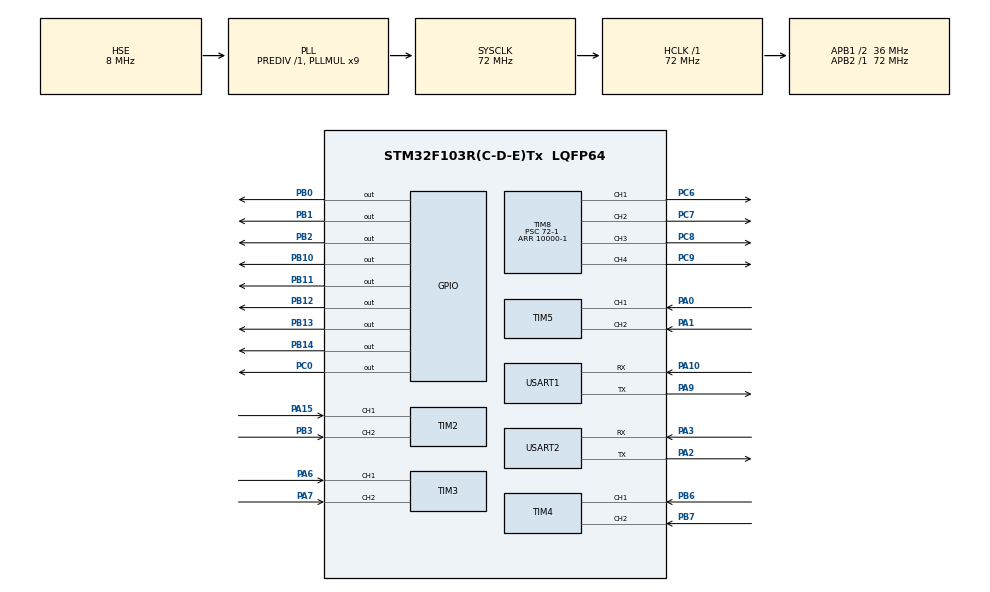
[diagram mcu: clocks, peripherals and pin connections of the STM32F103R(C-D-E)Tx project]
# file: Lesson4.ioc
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Dma.Request0=USART2_RX
Dma.Request1=USART1_RX
Dma.USART1_RX.1.Direction=DMA_PERIPH_TO_MEMORY
Dma.USART1_RX.1.Instance=DMA1_Channel5
Dma.USART1_RX.1.MemDataAlignment=DMA_MDATAALIGN_BYTE
Dma.USART1_RX.1.MemInc=DMA_MINC_ENABLE
Dma.USART1_RX.1.Mode=DMA_NORMAL
Dma.USART1_RX.1.PeriphDataAlignment=DMA_PDATAALIGN_BYTE
Dma.USART1_RX.1.PeriphInc=DMA_PINC_DISABLE
Dma.USART1_RX.1.Priority=DMA_PRIORITY_VERY_HIGH
Dma.USART2_RX.0.Direction=DMA_PERIPH_TO_MEMORY
Dma.USART2_RX.0.Instance=DMA1_Channel6
Dma.USART2_RX.0.MemDataAlignment=DMA_MDATAALIGN_BYTE
Dma.USART2_RX.0.MemInc=DMA_MINC_ENABLE
Dma.USART2_RX.0.Mode=DMA_NORMAL
Dma.USART2_RX.0.PeriphDataAlignment=DMA_PDATAALIGN_BYTE
Dma.USART2_RX.0.PeriphInc=DMA_PINC_DISABLE
Dma.USART2_RX.0.Priority=DMA_PRIORITY_VERY_HIGH
Mcu.Family=STM32F1
Mcu.Name=STM32F103R(C-D-E)Tx
Mcu.Package=LQFP64
NVIC.DMA1_Channel5_IRQn=true\:0\:0\:false\:false\:true\:false\:true
NVIC.DMA1_Channel6_IRQn=true\:0\:0\:false\:false\:true\:false\:true
NVIC.PriorityGroup=NVIC_PRIORITYGROUP_4
NVIC.TIM1_UP_IRQn=true\:0\:0\:false\:false\:true\:true\:true
NVIC.USART1_IRQn=true\:0\:0\:false\:false\:true\:true\:true
NVIC.USART2_IRQn=true\:0\:0\:false\:false\:true\:true\:true
PA0-WKUP.Signal=S_TIM5_CH1
PA1.Signal=S_TIM5_CH2
PA10.Mode=Asynchronous
PA10.Signal=USART1_RX
PA13.Mode=Serial_Wire
PA13.Signal=SYS_JTMS-SWDIO
PA14.Mode=Serial_Wire
PA14.Signal=SYS_JTCK-SWCLK
PA15.Signal=S_TIM2_CH1_ETR
PA2.Mode=Asynchronous
PA2.Signal=USART2_TX
PA3.Mode=Asynchronous
PA3.Signal=USART2_RX
PA6.Signal=S_TIM3_CH1
PA7.Signal=S_TIM3_CH2
PA9.Mode=Asynchronous
PA9.Signal=USART1_TX
PB0.Signal=GPIO_Output
PB1.Signal=GPIO_Output
PB10.Signal=GPIO_Output
PB11.Signal=GPIO_Output
PB12.Signal=GPIO_Output
PB13.Signal=GPIO_Output
PB14.Signal=GPIO_Output
PB2.Signal=GPIO_Output
PB3.Signal=S_TIM2_CH2
PB6.Signal=S_TIM4_CH1
PB7.Signal=S_TIM4_CH2
PC0.Signal=GPIO_Output
PC6.Signal=S_TIM8_CH1
PC7.Signal=S_TIM8_CH2
PC8.Signal=S_TIM8_CH3
PC9.Signal=S_TIM8_CH4
PD0-OSC_IN.Mode=HSE-External-Oscillator
PD0-OSC_IN.Signal=RCC_OSC_IN
PD1-OSC_OUT.Mode=HSE-External-Oscillator
PD1-OSC_OUT.Signal=RCC_OSC_OUT
ProjectManager.HeapSize=0x200
ProjectManager.StackSize=0x400
ProjectManager.TargetToolchain=Makefile
RCC.AHBFreq_Value=72000000
RCC.APB1CLKDivider=RCC_HCLK_DIV2
RCC.APB1Freq_Value=36000000
RCC.APB1TimFreq_Value=72000000
RCC.APB2Freq_Value=72000000
RCC.APB2TimFreq_Value=72000000
RCC.HCLKFreq_Value=72000000
RCC.PLLMUL=RCC_PLL_MUL9
RCC.PLLSourceVirtual=RCC_PLLSOURCE_HSE
RCC.SYSCLKFreq_VALUE=72000000
RCC.SYSCLKSource=RCC_SYSCLKSOURCE_PLLCLK
RCC.USBFreq_Value=72000000
SH.S_TIM2_CH1_ETR.0=TIM2_CH1,Encoder_Interface
SH.S_TIM2_CH2.0=TIM2_CH2,Encoder_Interface
SH.S_TIM3_CH1.0=TIM3_CH1,Encoder_Interface
SH.S_TIM3_CH2.0=TIM3_CH2,Encoder_Interface
SH.S_TIM4_CH1.0=TIM4_CH1,Encoder_Interface
SH.S_TIM4_CH2.0=TIM4_CH2,Encoder_Interface
SH.S_TIM5_CH1.0=TIM5_CH1,Encoder_Interface
SH.S_TIM5_CH2.0=TIM5_CH2,Encoder_Interface
SH.S_TIM8_CH1.0=TIM8_CH1,PWM Generation1 CH1
SH.S_TIM8_CH2.0=TIM8_CH2,PWM Generation2 CH2
SH.S_TIM8_CH3.0=TIM8_CH3,PWM Generation3 CH3
SH.S_TIM8_CH4.0=TIM8_CH4,PWM Generation4 CH4
TIM1.Period=50000-1
TIM1.Prescaler=72-1
TIM2.EncoderMode=TIM_ENCODERMODE_TI12
TIM3.EncoderMode=TIM_ENCODERMODE_TI12
TIM4.EncoderMode=TIM_ENCODERMODE_TI12
TIM8.Channel-PWM\ Generation1\ CH1=TIM_CHANNEL_1
TIM8.Channel-PWM\ Generation2\ CH2=TIM_CHANNEL_2
TIM8.Channel-PWM\ Generation3\ CH3=TIM_CHANNEL_3
TIM8.Channel-PWM\ Generation4\ CH4=TIM_CHANNEL_4
TIM8.Period=10000-1
TIM8.Prescaler=72-1
USART1.VirtualMode=VM_ASYNC
USART2.VirtualMode=VM_ASYNC
VP_TIM1_VS_ClockSourceINT.Mode=Internal
VP_TIM8_VS_ClockSourceINT.Mode=Internal
board=custom

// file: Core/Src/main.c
/* USER CODE BEGIN Header */
/**
  ******************************************************************************
  * @file           : main.c
  * @brief          : Main program body
  ******************************************************************************
  * @attention
  *
  * <h2><center>&copy; Copyright (c) 2021 STMicroelectronics.
  * All rights reserved.</center></h2>
  *
  * This software component is licensed by ST under BSD 3-Clause license,
  * the "License"; You may not use this file except in compliance with the
  * License. You may obtain a copy of the License at:
  *                        opensource.org/licenses/BSD-3-Clause
  *
  ******************************************************************************
  */
/* USER CODE END Header */
#include "main.h"
#include "dma.h"
#include "tim.h"
#include "usart.h"
#include "gpio.h"

/* USER CODE BEGIN Includes */
#include "jy62.h"
#include "zigbee.h"
/* USER CODE END Includes */

/* USER CODE BEGIN PTD */

//////////////////////////////////////基本信息///////////////////////////////////////////
//定时器周期为50ms

volatile float distance1 = 0.0, distance2 = 0.0, distance3 = 0.0, distance4 = 0.0;
extern uint8_t jy62Receive[JY62_MESSAGE_LENGTH];
extern uint8_t jy62Message[JY62_MESSAGE_LENGTH];

float angle_obj, dis_obj;         //未使用的全局变量??
float obj_x, obj_y, car_x, car_y; //未使用的全局变量??

//////////////////////////////////////Sol_Car_Pos函数变量定义///////////////////////////////////////////
int beacon_Pos[6];               //三个信标坐标，依次存放x_1、y_1、x_2、y_2、x_3、y_3
int car_Pos[2];                  //小车当前坐标
double beacon_determinant = 0.0; //计算中间变量
//////////////////////////////////////Sol_Car_Pos函数定义结束///////////////////////////////////////////
//////////////////////////////////////求解金矿位置中间变量容器///////////////////////////////////////////
//求解金矿位置�??要用到当前时刻�?�上�??时刻、上上个时刻的小车位置与金矿强度。此容器用于存储这些变量
struct Sol_Mine_Pos_Temp
{
    uint16_t x;   //小车x坐标
    uint16_t y;   //小车y坐标
    uint32_t E_1; //场强1
    uint32_t E_2; //场强2
} Prev_Pos[3] = {{0, 0, 0}, {0, 0, 0}, {0, 0, 0}};
short Prev_Pos_head = 0;
////////////////////////////////////求解金矿位置中间变量容器结束/////////////////////////////////////////

struct A //资源坐标
{
    int x[2];         //(x[0],y[0])是第�??个资源的坐标
    int y[2];         //(x[1],y[1])是第二个资源的坐�??
    int iscalculated; //是否被计算出�?? 0-false
    int priority;     //�??近资源的下标
} resource_location = {{-1, -1}, {-1, -1}, 0, -1};
int score;                //得分�??
int count_pos = 0;        //坐标计数器，匹配上位机频率
int count_beacon = 0;     //信标计数器，确保停留一秒
int count_storehouse = 0; //仓库计时器，确保停留两秒
uint16_t now;             //记录当前时间

int goto_state = 0;
float dis_cur, dis_pre;
//仓库坐标
int rep[8][2] = {{15, 15},
                 {127, 15},
                 {239, 127},
                 {239, 239},
                 {127, 239},
                 {15, 239},
                 {15, 127}};

int State = -1;
//状�?�变量对应表
// -1-比赛未开始或已结�?
// 0-初始/随意游走解资源坐�?
// 1-已获得资源坐标，去第�?个资�?
// 2-已捡起第�?个资源，去第二个
// 3-资源全部捡到，去放第�?个信�?(beacon)
// 4-去放第二个信�?
// 5-去放第三个信�?
// 6-去仓�?

int destination[2]; //放到全局
int prev_type;      //全局 记录上一次抵达仓库的种类

int count_rep = 0;   //仓库停止计数器
int current_Res = 0; //记录当前小车上的资源，以便后续比较
int rotate_pwm[4];
float speed1, speed2, speed3, speed4;

#define forward_speed 1500
#define rotate_speed 3200
#define rotate_rpm 20
#define angle_err 1
/* USER CODE END PTD */

/* USER CODE BEGIN PD */
//////////////////////////////////////Solve_Mine_Pos函数宏定�???///////////////////////////////////////////
#define A_COFFIENT 1000000000.0 //金矿强度系数A
#define POS_ERR_TOL 4           //金矿位置计算结果偏离场地的最大误�???
//////////////////////////////////////Solve_Mine_Pos宏定义结�???///////////////////////////////////////////
////////////////////////////////////////atan2LUTif函数宏定�???/////////////////////////////////////////////
#define M_PI_2 1.5707963
#define M_PI 3.141592654
#define M_PI_4_P_0273 1.05839816339744830962 //M_PI/4 + 0.273
const double ATAN_LUT[256] = {0.0000000000, 0.0039215485, 0.0078429764, 0.0117641631, 0.0156849881, 0.0196053309,
                              0.0235250710, 0.0274440882, 0.0313622624, 0.0352794736, 0.0391956019, 0.0431105278,
                              0.0470241318, 0.0509362949, 0.0548468980, 0.0587558227, 0.0626629506, 0.0665681638,
                              0.0704713446, 0.0743723758, 0.0782711405, 0.0821675224, 0.0860614053, 0.0899526737,
                              0.0938412126, 0.0977269074, 0.1016096438, 0.1054893085, 0.1093657884, 0.1132389710,
                              0.1171087446, 0.1209749978, 0.1248376255, 0.1286965013, 0.1325515323, 0.1364026044,
                              0.1402496096, 0.1440924408, 0.1479309912, 0.1517651553, 0.1555948280, 0.1594199049,
                              0.1632402828, 0.1670558588, 0.1708665312, 0.1746721990, 0.1784727620, 0.1822681208,
                              0.1860581771, 0.1898428334, 0.1936219929, 0.1973955598, 0.2011634395, 0.2049255380,
                              0.2086817623, 0.2124320205, 0.2161762215, 0.2199142752, 0.2236460927, 0.2273715857,
                              0.2310906672, 0.2348032511, 0.2385092525, 0.2422085871, 0.2459011721, 0.2495869254,
                              0.2532657662, 0.2569376146, 0.2606023917, 0.2642600199, 0.2679104224, 0.2715535237,
                              0.2751892491, 0.2788175253, 0.2824382800, 0.2860514417, 0.2896569404, 0.2932547070,
                              0.2968446734, 0.3004267728, 0.3040009393, 0.3075671084, 0.3111252164, 0.3146752558,
                              0.3182170002, 0.3217505544, 0.3252758042, 0.3287926915, 0.3323011594, 0.3358011520,
                              0.3392926145, 0.3427754932, 0.3462497357, 0.3497152904, 0.3531721069, 0.3566201360,
                              0.3600593294, 0.3634896400, 0.3669110217, 0.3703234297, 0.3737268255, 0.3771211497,
                              0.3805063771, 0.3838824615, 0.3872493632, 0.3906070437, 0.3939554653, 0.3972945915,
                              0.4006243869, 0.4039448169, 0.4072558481, 0.4105574480, 0.4138495853, 0.4171322295,
                              0.4204053512, 0.4236689219, 0.4269229141, 0.4301673014, 0.4334020581, 0.4366271598,
                              0.4398425828, 0.4430483044, 0.4462443029, 0.4494305575, 0.4526070482, 0.4557737560,
                              0.4589306629, 0.4620777516, 0.4652150058, 0.4683424102, 0.4714599501, 0.4745676117,
                              0.4776653824, 0.4807532499, 0.4838312032, 0.4868992318, 0.4899573263, 0.4930054778,
                              0.4960436784, 0.4990719209, 0.5020901990, 0.5050985071, 0.5080968402, 0.5110851942,
                              0.5140635659, 0.5170319525, 0.5199903521, 0.5229387636, 0.5258771863, 0.5288056206,
                              0.5317240673, 0.5346325278, 0.5375310045, 0.5404195003, 0.5432980185, 0.5461665634,
                              0.5490251398, 0.5518737530, 0.5547124091, 0.5575411147, 0.5603598769, 0.5631687036,
                              0.5659676030, 0.5687565842, 0.5715356566, 0.5743048302, 0.5770641155, 0.5798135236,
                              0.5825530662, 0.5852827553, 0.5880026035, 0.5907126240, 0.5934128303, 0.5961032364,
                              0.5987838570, 0.6014547069, 0.6041158015, 0.6067671569, 0.6094087892, 0.6120407151,
                              0.6146629519, 0.6172755171, 0.6198784285, 0.6224717045, 0.6250553640, 0.6276294258,
                              0.6301939095, 0.6327488350, 0.6352942223, 0.6378300921, 0.6403564651, 0.6428733625,
                              0.6453808058, 0.6478788169, 0.6503674179, 0.6528466311, 0.6553164793, 0.6577769856,
                              0.6602281731, 0.6626700655, 0.6651026865, 0.6675260602, 0.6699402110, 0.6723451634,
                              0.6747409422, 0.6771275725, 0.6795050796, 0.6818734889, 0.6842328261, 0.6865831172,
                              0.6889243882, 0.6912566655, 0.6935799756, 0.6958943450, 0.6981998008, 0.7004963699,
                              0.7027840796, 0.7050629571, 0.7073330300, 0.7095943260, 0.7118468729, 0.7140906986,
                              0.7163258312, 0.7185522990, 0.7207701302, 0.7229793534, 0.7251799971, 0.7273720900,
                              0.7295556609, 0.7317307387, 0.7338973524, 0.7360555311, 0.7382053040, 0.7403467003,
                              0.7424797493, 0.7446044805, 0.7467209234, 0.7488291075, 0.7509290624, 0.7530208178,
                              0.7551044035, 0.7571798492, 0.7592471847, 0.7613064400, 0.7633576449, 0.7654008294,
                              0.7674360235, 0.7694632573, 0.7714825607, 0.7734939638, 0.7754974968, 0.7774931897,
                              0.7794810727, 0.7814611759, 0.7834335294, 0.7853981634};
////////////////////////////////////////atan2LUTif宏定义结�???/////////////////////////////////////////////

/* USER CODE END PD */

/* USER CODE BEGIN PV */
const float Kp = 300.0;
const float Ki = -118;
const float Kd = 50;
float state[3] = {0.0};
/* USER CODE END PV */

void SystemClock_Config(void);

/* USER CODE BEGIN 0 */

void HAL_TIM_PeriodElapsedCallback(TIM_HandleTypeDef *htim)
{
    HAL_UART_Receive_DMA(&huart2, jy62Receive, JY62_MESSAGE_LENGTH);
    if (htim->Instance == TIM1)
    {
        short Count[4] = {
            Abs(__HAL_TIM_GetCounter(&htim2)),
            Abs(__HAL_TIM_GetCounter(&htim3)),
            Abs(__HAL_TIM_GetCounter(&htim4)),
            Abs(__HAL_TIM_GetCounter(&htim5))};

        __HAL_TIM_SetCounter(&htim2, 0);
        __HAL_TIM_SetCounter(&htim3, 0);
        __HAL_TIM_SetCounter(&htim4, 0);
        __HAL_TIM_SetCounter(&htim5, 0);

        speed1 = (float)Count[0] / 1060 * 20; //rpm
        speed2 = (float)Count[1] / 1060 * 20; //cm/s
        speed3 = (float)Count[2] / 1060 * 20; //cm/s
        speed4 = (float)Count[3] / 1060 * 20; //cm/s

        if (State < 10)
        {
            count_pos++; //进两次定时器更新一次小车xy坐标
            if (count_pos == 2)
            {
                car_Pos[0] = getCarPosX();
                car_Pos[1] = getCarPosY(); ///更新小车xy坐标
                count_pos = 0;
            }
        }
        else
        {
            uint16_t r_0, r_1, r_2; //小车到信标的距离 放到全局
            r_0 = getDistanceOfMyBeacon(0);
            r_1 = getDistanceOfMyBeacon(1);
            r_2 = getDistanceOfMyBeacon(2);
            Sol_Car_Pos(r_0, r_1, r_2); ///更新小车xy坐标
        }

        switch (State)
        {
        case (0): //初始状态??
        {
            //步骤1：随意走
            rotate_clockwise_plus_forward(rotate_speed); ///初始时转圈，确定资源坐标
            //步骤2：解算两个资源坐�?? =====待实�??=====
            // if (resource_location.iscalculated == 1) //如果测算出坐�??
            // {
            //     State = 1; //进入下一状�??
            //     //步骤3：确定离车最近的�??�??
            //     resource_location.priority = (resource_location.x[0]*resource_location.x[0]+resource_location.y[0]*resource_location.y[0])<(resource_location.x[1]*resource_location.x[1]+resource_location.y[1]*resource_location.y[1])?0:1;   //确定距离更近�??
            // }
            // break;
            if (Solve_Mine_Pos(Prev_Pos[0].x, Prev_Pos[0].y, Prev_Pos[0].E_1, Prev_Pos[1].x, Prev_Pos[1].y, Prev_Pos[1].E_1, Prev_Pos[2].x, Prev_Pos[2].y, Prev_Pos[2].E_1, resource_location.x, resource_location.y) && Solve_Mine_Pos(Prev_Pos[0].x, Prev_Pos[0].y, Prev_Pos[0].E_2, Prev_Pos[1].x, Prev_Pos[1].y, Prev_Pos[1].E_2, Prev_Pos[2].x, Prev_Pos[2].y, Prev_Pos[2].E_2, resource_location.x + 1, resource_location.y + 1))
            {
                //利用Solve_Mine_Pos函数返回值直接判断计算是否成�??
                State = 1; //进入下一状�??
                //步骤3：确定离车最近的�??�??
                resource_location.priority = (resource_location.x[0] * resource_location.x[0] + resource_location.y[0] * resource_location.y[0]) < (resource_location.x[1] * resource_location.x[1] + resource_location.y[1] * resource_location.y[1]) ? 0 : 1; //确定距离更近�??
                break;
            }
            else
            {
                //case计算不成功，�??要更新位置与场强信息，重新计算�??
                Prev_Pos[Prev_Pos_head].x = getCarPosX();          //利用getCarPosX函数获取小车x坐标进行更新
                Prev_Pos[Prev_Pos_head].y = getCarPosY();          //同上
                Prev_Pos[Prev_Pos_head].E_1 = getMineIntensity(0); //利用getMineIntensity函数更新场强
                Prev_Pos[Prev_Pos_head].E_2 = getMineIntensity(1); //同上
                Prev_Pos_head = (Prev_Pos_head + 1) % 3;           //头指针循环地后移
                break;
            }
        }
        case (1):
        {
            //去最近的资源
            Goto(resource_location.x[resource_location.priority], resource_location.y[resource_location.priority]);
            if (getCarMineSumNum() == 1)
            {
                State = 2; //进入下一状态
                goto_state = 0;
            }
            break;
        }
        case (2):
        {
            //去第二个资源
            Goto(resource_location.x[!resource_location.priority], resource_location.y[!resource_location.priority]);
            if (getCarMineSumNum() == 2)
            {
                State = 3; //进入下一状态
                goto_state = 0;
            }
            break;
        }
        case (3):
        {
            //放置第一个信�? (127,60）中偏上
            Goto(127, 50);
            float dis = (getCarPosX() - 127) * (getCarPosX() - 127) + (getCarPosY() - 50) * (getCarPosY() - 50);
            if (dis < 300 || getCarPosX() < 15 || getCarPosX() > 240 || getCarPosY() < 15 || getCarPosY() > 240) //near the target, but not exactly. for there's no need
            //also, not beyond the boundary
            {
                brake(); //刹车
                if (count_beacon == 0)
                    zigbeeSend(0x00);
                count_beacon++;
                if (count_beacon <= 20)
                {
                    HAL_GPIO_WritePin(GPIOC, GPIO_PIN_0, GPIO_PIN_SET);
                }
                else
                {
                    State = 4;
                    count_beacon = 0;
                    beacon_Pos[0] = getCarPosX();
                    beacon_Pos[1] = getCarPosY(); //给beacon_Pos赋�?�，用于第二回合精确计算坐标
                    HAL_GPIO_WritePin(GPIOC, GPIO_PIN_0, GPIO_PIN_RESET);
                    goto_state = 0;
                }
            }
            break;
        }
        case (4):
        {
            //放置第二个信标 (127,127)正中间
            Goto(127, 127);
            float dis = (getCarPosX() - 127) * (getCarPosX() - 127) + (getCarPosY() - 127) * (getCarPosY() - 127);
            if (dis < 300 || getCarPosX() < 15 || getCarPosX() > 240 || getCarPosY() < 15 || getCarPosY() > 240)
            //also, not beyond the boundary
            {
                brake(); //刹车
                if (count_beacon == 0)
                    zigbeeSend(0x01);
                count_beacon++;
                if (count_beacon <= 20)
                {
                    HAL_GPIO_WritePin(GPIOC, GPIO_PIN_0, GPIO_PIN_SET);
                }
                else
                {
                    State = 5;
                    count_beacon = 0;
                    beacon_Pos[2] = getCarPosX();
                    beacon_Pos[3] = getCarPosY(); //给beacon_Pos赋�?�，用于第二回合精确计算坐标
                    HAL_GPIO_WritePin(GPIOC, GPIO_PIN_0, GPIO_PIN_RESET);
                    goto_state = 0;
                }
            }
            break;
        }
        case (5):
        {
            //放置第三个信�?? (60,127)中偏�??
            Goto(60, 127);
            float dis = (getCarPosX() - 60) * (getCarPosX() - 60) + (getCarPosY() - 127) * (getCarPosY() - 127);
            if (dis < 300 || getCarPosX() < 15 || getCarPosX() > 240 || getCarPosY() < 15 || getCarPosY() > 240)
            {
                brake(); //刹车
                if (count_beacon == 0)
                    zigbeeSend(0x02);
                count_beacon++;
                if (count_beacon <= 20)
                {
                    HAL_GPIO_WritePin(GPIOC, GPIO_PIN_0, GPIO_PIN_SET);
                }
                else
                {
                    State = 6;
                    count_beacon = 0;
                    beacon_Pos[4] = getCarPosX();
                    beacon_Pos[5] = getCarPosY(); //给beacon_Pos赋�?�，用于第二回合精确计算坐标
                    HAL_GPIO_WritePin(GPIOC, GPIO_PIN_0, GPIO_PIN_RESET);
                    goto_state = 0;
                }
            }
            break;
        }
        case (6):
        {
            //去最近仓�?7号，不判断是否到�??
            //还是判断一下吧
            Goto(15, 127);
            if ((car_Pos[0] < 17) || (car_Pos[0] > 250) || (car_Pos[1] < 18) || (car_Pos[1] > 250))
            {
                //走过了
                brake();
                goto_state = 0;
                break;
            }
            if ((car_Pos[0] - 15) * (car_Pos[0] - 15) + (car_Pos[1] - 127) * (car_Pos[1] - 127) < 20)
            {
                brake();    //刹车
                State = -1; //第一回合结束
                goto_state = 0;
            }
            break;
        }
        case (10):
        {
            //步骤1：随意走
            rotate_clockwise_plus_forward(rotate_speed); ///初始时转圈，确定资源坐标

            //求解资源坐标
            if (Solve_Mine_Pos(Prev_Pos[0].x, Prev_Pos[0].y, Prev_Pos[0].E_1, Prev_Pos[1].x, Prev_Pos[1].y, Prev_Pos[1].E_1, Prev_Pos[2].x, Prev_Pos[2].y, Prev_Pos[2].E_1, resource_location.x, resource_location.y) && Solve_Mine_Pos(Prev_Pos[0].x, Prev_Pos[0].y, Prev_Pos[0].E_2, Prev_Pos[1].x, Prev_Pos[1].y, Prev_Pos[1].E_2, Prev_Pos[2].x, Prev_Pos[2].y, Prev_Pos[2].E_2, resource_location.x + 1, resource_location.y + 1))
            {
                //利用Solve_Mine_Pos函数返回值直接判断计算是否成�?
                State = 11; //进入行进模式
                //确定离车最近的资源
                current_Res = getCarMineSumNum();
                resource_location.priority = (resource_location.x[0] * resource_location.x[0] + resource_location.y[0] * resource_location.y[0]) < (resource_location.x[1] * resource_location.x[1] + resource_location.y[1] * resource_location.y[1]) ? 0 : 1; //确定距离更近�?
            }
            else
            {
                //case计算不成功，�?要更新位置与场强信息，重新计算�??
                Prev_Pos[Prev_Pos_head].x = getCarPosX();          //利用getCarPosX函数获取小车x坐标进行更新
                Prev_Pos[Prev_Pos_head].y = getCarPosY();          //同上
                Prev_Pos[Prev_Pos_head].E_1 = getMineIntensity(0); //利用getMineIntensity函数更新场强
                Prev_Pos[Prev_Pos_head].E_1 = getMineIntensity(1); //同上
                Prev_Pos_head = (Prev_Pos_head + 1) % 3;           //头指针循环地后移
            }
            break;
        }
        case (11):
        {
            Goto(resource_location.x[!resource_location.priority], resource_location.y[!resource_location.priority]);
            if (getCarMineSumNum() > current_Res)
            {
                goto_state = 0;
                State = 10;                   //返回计算状态
                if (getCarMineSumNum() == 10) //满载
                    State = 12;               //而归
            }
            break;
        }
        case (12):
        {
            //计算小车到8个仓库的距离
            Get_Rep_opt(car_Pos[0], car_Pos[1]);
            State = 13;
        }
        case (13):
        {

            if ((car_Pos[0] - destination[0]) * (car_Pos[0] - destination[0]) +
                    (car_Pos[1] - destination[1]) * (car_Pos[1] - destination[1]) <
                20) //运送成功
            {
                brake();
                goto_state = 0;
                count_rep++;
                if (count_rep > 40)
                {
                    State = 12; //返回计算状态
                    count_rep = 0;
                    if (getCarMineSumNum() == 0) //全部卸载
                        State = 10;
                }
            }
            else
                Goto(destination[0], destination[1]); //前往仓库
            break;
        }
        }
    }
}
/* USER CODE END 0 */

int main(void)
{

    /* MCU Configuration--------------------------------------------------------*/

    /* Reset of all peripherals, Initializes the Flash interface and the Systick. */
    HAL_Init();

    /* USER CODE BEGIN Init */
    jy62_Init(&huart2);
    SetBaud(115200);
    SetHorizontal();
    InitAngle();
    Calibrate();
    SleepOrAwake();
    /* USER CODE END Init */

    /* Configure the system clock */
    SystemClock_Config();

    /* Initialize all configured peripherals */
    MX_GPIO_Init();
    MX_TIM1_Init();
    MX_TIM2_Init();
    MX_TIM8_Init();
    MX_TIM3_Init();
    MX_TIM4_Init();
    MX_DMA_Init();
    MX_USART2_UART_Init();
    MX_USART1_UART_Init();
    MX_TIM5_Init();
    /* USER CODE BEGIN 2 */
    zigbee_Init(&huart1);
    HAL_TIM_Base_Start_IT(&htim1);
    HAL_TIM_PWM_Start(&htim8, TIM_CHANNEL_1);
    HAL_TIM_PWM_Start(&htim8, TIM_CHANNEL_2);
    HAL_TIM_PWM_Start(&htim8, TIM_CHANNEL_3);
    HAL_TIM_PWM_Start(&htim8, TIM_CHANNEL_4);
    HAL_TIM_Encoder_Start(&htim2, TIM_CHANNEL_1);
    HAL_TIM_Encoder_Start(&htim2, TIM_CHANNEL_2);
    HAL_TIM_Encoder_Start(&htim3, TIM_CHANNEL_1);
    HAL_TIM_Encoder_Start(&htim3, TIM_CHANNEL_2);
    HAL_TIM_Encoder_Start(&htim4, TIM_CHANNEL_1);
    HAL_TIM_Encoder_Start(&htim4, TIM_CHANNEL_2);
    HAL_TIM_Encoder_Start(&htim5, TIM_CHANNEL_1);
    HAL_TIM_Encoder_Start(&htim5, TIM_CHANNEL_2);
    jy62_Init(&huart2);
    void jy62_Init(UART_HandleTypeDef * huart);

    HAL_GPIO_WritePin(GPIOB, GPIO_PIN_0, GPIO_PIN_SET);
    HAL_GPIO_WritePin(GPIOB, GPIO_PIN_1, GPIO_PIN_RESET);
    HAL_GPIO_WritePin(GPIOB, GPIO_PIN_2, GPIO_PIN_RESET);
    HAL_GPIO_WritePin(GPIOB, GPIO_PIN_10, GPIO_PIN_SET);
    HAL_GPIO_WritePin(GPIOB, GPIO_PIN_11, GPIO_PIN_SET);
    HAL_GPIO_WritePin(GPIOB, GPIO_PIN_12, GPIO_PIN_RESET);
    HAL_GPIO_WritePin(GPIOB, GPIO_PIN_13, GPIO_PIN_RESET);
    HAL_GPIO_WritePin(GPIOB, GPIO_PIN_14, GPIO_PIN_SET);
    /* USER CODE END 2 */

    /* Infinite loop */
    while (1)
    {

        /* USER CODE BEGIN 3 */
        // rotate_clockwise(rotate_speed);
        // rotate_counterclockwise(1);
        if (getGameState() == 3)
        {
            State = -1;
        }
        if ((getGameState() == 1) && (getCarTask() == 0) && (State < 0)) //上半�?
        {
            State = 0;
        }
        if ((getGameState() == 1) && (getCarTask() == 1)) //下半�?
        {
            if (State < 10)
            {
                State = 10;
                Sol_Car_Pos_INIT();
            }
            if ((getGameTime() > 1000) && (State < 12)) //�?后时�?
                State = 12;
        }
    }
    /* USER CODE END 3 */
}

void SystemClock_Config(void)
{
    RCC_OscInitTypeDef RCC_OscInitStruct = {0};
    RCC_ClkInitTypeDef RCC_ClkInitStruct = {0};

    /** Initializes the RCC Oscillators according to the specified parameters
  * in the RCC_OscInitTypeDef structure.
  */
    RCC_OscInitStruct.OscillatorType = RCC_OSCILLATORTYPE_HSE;
    RCC_OscInitStruct.HSEState = RCC_HSE_ON;
    RCC_OscInitStruct.HSEPredivValue = RCC_HSE_PREDIV_DIV1;
    RCC_OscInitStruct.HSIState = RCC_HSI_ON;
    RCC_OscInitStruct.PLL.PLLState = RCC_PLL_ON;
    RCC_OscInitStruct.PLL.PLLSource = RCC_PLLSOURCE_HSE;
    RCC_OscInitStruct.PLL.PLLMUL = RCC_PLL_MUL9;
    if (HAL_RCC_OscConfig(&RCC_OscInitStruct) != HAL_OK)
    {
        Error_Handler();
    }
    /** Initializes the CPU, AHB and APB buses clocks
  */
    RCC_ClkInitStruct.ClockType = RCC_CLOCKTYPE_HCLK | RCC_CLOCKTYPE_SYSCLK | RCC_CLOCKTYPE_PCLK1 | RCC_CLOCKTYPE_PCLK2;
    RCC_ClkInitStruct.SYSCLKSource = RCC_SYSCLKSOURCE_PLLCLK;
    RCC_ClkInitStruct.AHBCLKDivider = RCC_SYSCLK_DIV1;
    RCC_ClkInitStruct.APB1CLKDivider = RCC_HCLK_DIV2;
    RCC_ClkInitStruct.APB2CLKDivider = RCC_HCLK_DIV1;

    if (HAL_RCC_ClockConfig(&RCC_ClkInitStruct, FLASH_LATENCY_2) != HAL_OK)
    {
        Error_Handler();
    }
}

/* USER CODE BEGIN 4 */
float pid(float in)
{
    float out;
    // y[n] = A0 * x[n] + A1 * x[n-1] + A2 * x[n-2]
    out = ((Kp + Ki + Kd) * in) + ((-Ki - 2 * Kd) * state[0]) + (Kd * state[1]);
    state[1] = state[0];
    state[0] = in;
    if (out >= PID_MAX)
        state[2] = PID_MAX;
    else if (out <= PID_MIN)
        state[2] = PID_MIN;
    else
        state[2] = out;
    return (state[2]);
}

short Abs(short in)
{
    return in >= 0 ? in : -in;
}

float qiuyu360(float in)
{
    while (in > 360)
        in -= 360.0;
    while (in < 0)
        in += 360.0;
    return in;
}

void forward(int pwm)
{
    //change rotate direction of wheel
    HAL_GPIO_WritePin(GPIOB, GPIO_PIN_0, GPIO_PIN_SET);
    HAL_GPIO_WritePin(GPIOB, GPIO_PIN_1, GPIO_PIN_RESET);
    HAL_GPIO_WritePin(GPIOB, GPIO_PIN_2, GPIO_PIN_RESET);
    HAL_GPIO_WritePin(GPIOB, GPIO_PIN_10, GPIO_PIN_SET);
    HAL_GPIO_WritePin(GPIOB, GPIO_PIN_11, GPIO_PIN_SET);
    HAL_GPIO_WritePin(GPIOB, GPIO_PIN_12, GPIO_PIN_RESET);
    HAL_GPIO_WritePin(GPIOB, GPIO_PIN_13, GPIO_PIN_RESET);
    HAL_GPIO_WritePin(GPIOB, GPIO_PIN_14, GPIO_PIN_SET);
    //give pwm output
    __HAL_TIM_SetCompare(&htim8, TIM_CHANNEL_1, pwm);
    __HAL_TIM_SetCompare(&htim8, TIM_CHANNEL_2, pwm);
    __HAL_TIM_SetCompare(&htim8, TIM_CHANNEL_3, pwm);
    __HAL_TIM_SetCompare(&htim8, TIM_CHANNEL_4, pwm);
}

void backward(int pwm)
{
    //change rotate direction of wheel
    HAL_GPIO_WritePin(GPIOB, GPIO_PIN_0, GPIO_PIN_RESET);
    HAL_GPIO_WritePin(GPIOB, GPIO_PIN_1, GPIO_PIN_SET);
    HAL_GPIO_WritePin(GPIOB, GPIO_PIN_2, GPIO_PIN_SET);
    HAL_GPIO_WritePin(GPIOB, GPIO_PIN_10, GPIO_PIN_RESET);
    HAL_GPIO_WritePin(GPIOB, GPIO_PIN_11, GPIO_PIN_RESET);
    HAL_GPIO_WritePin(GPIOB, GPIO_PIN_12, GPIO_PIN_SET);
    HAL_GPIO_WritePin(GPIOB, GPIO_PIN_13, GPIO_PIN_SET);
    HAL_GPIO_WritePin(GPIOB, GPIO_PIN_14, GPIO_PIN_RESET);
    //give pwm output
    __HAL_TIM_SetCompare(&htim8, TIM_CHANNEL_1, pwm);
    __HAL_TIM_SetCompare(&htim8, TIM_CHANNEL_2, pwm);
    __HAL_TIM_SetCompare(&htim8, TIM_CHANNEL_3, pwm);
    __HAL_TIM_SetCompare(&htim8, TIM_CHANNEL_4, pwm);
}

void rotate_counterclockwise(int pwm)
{
    //change rotate direction of wheel
    HAL_GPIO_WritePin(GPIOB, GPIO_PIN_0, GPIO_PIN_SET);
    HAL_GPIO_WritePin(GPIOB, GPIO_PIN_1, GPIO_PIN_RESET);
    HAL_GPIO_WritePin(GPIOB, GPIO_PIN_2, GPIO_PIN_RESET);
    HAL_GPIO_WritePin(GPIOB, GPIO_PIN_10, GPIO_PIN_SET);
    HAL_GPIO_WritePin(GPIOB, GPIO_PIN_11, GPIO_PIN_RESET);
    HAL_GPIO_WritePin(GPIOB, GPIO_PIN_12, GPIO_PIN_SET);
    HAL_GPIO_WritePin(GPIOB, GPIO_PIN_13, GPIO_PIN_SET);
    HAL_GPIO_WritePin(GPIOB, GPIO_PIN_14, GPIO_PIN_RESET);
    //give pwm output
    // Get_rotate_pwm();
    // __HAL_TIM_SetCompare(&htim8, TIM_CHANNEL_1, rotate_pwm[0]);
    // __HAL_TIM_SetCompare(&htim8, TIM_CHANNEL_2, rotate_pwm[1]);
    // __HAL_TIM_SetCompare(&htim8, TIM_CHANNEL_3, rotate_pwm[2]);
    // __HAL_TIM_SetCompare(&htim8, TIM_CHANNEL_4, rotate_pwm[3]);
    __HAL_TIM_SetCompare(&htim8, TIM_CHANNEL_1, rotate_speed);
    __HAL_TIM_SetCompare(&htim8, TIM_CHANNEL_2, rotate_speed);
    __HAL_TIM_SetCompare(&htim8, TIM_CHANNEL_3, rotate_speed);
    __HAL_TIM_SetCompare(&htim8, TIM_CHANNEL_4, rotate_speed);
}

void rotate_clockwise(int pwm)
{
    //change rotate direction of wheel
    HAL_GPIO_WritePin(GPIOB, GPIO_PIN_0, GPIO_PIN_RESET);
    HAL_GPIO_WritePin(GPIOB, GPIO_PIN_1, GPIO_PIN_SET);
    HAL_GPIO_WritePin(GPIOB, GPIO_PIN_2, GPIO_PIN_SET);
    HAL_GPIO_WritePin(GPIOB, GPIO_PIN_10, GPIO_PIN_RESET);
    HAL_GPIO_WritePin(GPIOB, GPIO_PIN_11, GPIO_PIN_SET);
    HAL_GPIO_WritePin(GPIOB, GPIO_PIN_12, GPIO_PIN_RESET);
    HAL_GPIO_WritePin(GPIOB, GPIO_PIN_13, GPIO_PIN_RESET);
    HAL_GPIO_WritePin(GPIOB, GPIO_PIN_14, GPIO_PIN_SET);
    //give pwm output
    // Get_rotate_pwm();
    // __HAL_TIM_SetCompare(&htim8, TIM_CHANNEL_1, rotate_pwm[0]);
    // __HAL_TIM_SetCompare(&htim8, TIM_CHANNEL_2, rotate_pwm[1]);
    // __HAL_TIM_SetCompare(&htim8, TIM_CHANNEL_3, rotate_pwm[2]);
    // __HAL_TIM_SetCompare(&htim8, TIM_CHANNEL_4, rotate_pwm[3]);
    __HAL_TIM_SetCompare(&htim8, TIM_CHANNEL_1, rotate_speed);
    __HAL_TIM_SetCompare(&htim8, TIM_CHANNEL_2, rotate_speed);
    __HAL_TIM_SetCompare(&htim8, TIM_CHANNEL_3, rotate_speed);
    __HAL_TIM_SetCompare(&htim8, TIM_CHANNEL_4, rotate_speed);
}

void rotate_clockwise_plus_forward(int pwm)
{
    //change rotate direction of wheel
    HAL_GPIO_WritePin(GPIOB, GPIO_PIN_0, GPIO_PIN_SET); //右边
    HAL_GPIO_WritePin(GPIOB, GPIO_PIN_1, GPIO_PIN_RESET);
    HAL_GPIO_WritePin(GPIOB, GPIO_PIN_2, GPIO_PIN_RESET);
    HAL_GPIO_WritePin(GPIOB, GPIO_PIN_10, GPIO_PIN_SET);
    HAL_GPIO_WritePin(GPIOB, GPIO_PIN_11, GPIO_PIN_SET); //左边
    HAL_GPIO_WritePin(GPIOB, GPIO_PIN_12, GPIO_PIN_RESET);
    HAL_GPIO_WritePin(GPIOB, GPIO_PIN_13, GPIO_PIN_RESET);
    HAL_GPIO_WritePin(GPIOB, GPIO_PIN_14, GPIO_PIN_SET);
    //give pwm output
    __HAL_TIM_SetCompare(&htim8, TIM_CHANNEL_1, 800);
    __HAL_TIM_SetCompare(&htim8, TIM_CHANNEL_2, 800);
    __HAL_TIM_SetCompare(&htim8, TIM_CHANNEL_3, 2000);
    __HAL_TIM_SetCompare(&htim8, TIM_CHANNEL_4, 2000);
}
void brake()
{
    //change rotate direction of wheel
    HAL_GPIO_WritePin(GPIOB, GPIO_PIN_0, GPIO_PIN_SET);
    HAL_GPIO_WritePin(GPIOB, GPIO_PIN_1, GPIO_PIN_SET);
    HAL_GPIO_WritePin(GPIOB, GPIO_PIN_2, GPIO_PIN_SET);
    HAL_GPIO_WritePin(GPIOB, GPIO_PIN_10, GPIO_PIN_SET);
    HAL_GPIO_WritePin(GPIOB, GPIO_PIN_11, GPIO_PIN_SET);
    HAL_GPIO_WritePin(GPIOB, GPIO_PIN_12, GPIO_PIN_SET);
    HAL_GPIO_WritePin(GPIOB, GPIO_PIN_13, GPIO_PIN_SET);
    HAL_GPIO_WritePin(GPIOB, GPIO_PIN_14, GPIO_PIN_SET);
    //give pwm output
    __HAL_TIM_SetCompare(&htim8, TIM_CHANNEL_1, 0);
    __HAL_TIM_SetCompare(&htim8, TIM_CHANNEL_2, 0);
    __HAL_TIM_SetCompare(&htim8, TIM_CHANNEL_3, 0);
    __HAL_TIM_SetCompare(&htim8, TIM_CHANNEL_4, 0);
}
double fabs(double x)
{
    //双精度浮点数求绝对�?�函�??
    return (x > 0) ? x : (-x);
}
double atan2LUTif(double y, double x)
{
    //反正切函数实�??.误差不大�??0.5°.入口参数：两点间y、x坐标的差�??
    double absx, absy, val;
    if (x == 0 && y == 0)
    {
        return 0;
    }
    absy = fabs(y);
    absx = fabs(x);
    if (absy - absx == absy)
    {
        return y < 0 ? -M_PI_2 : M_PI_2;
    }
    if (absx - absy == absx)
    {
        val = 0.0;
    }
    else
    {
        if (y > 0)
        {
            if (absx > absy)
                val = ATAN_LUT[(int)(255 * absy / absx)]; //1st octant
            else
                val = M_PI_2 - ATAN_LUT[(int)(255 * absx / absy)]; //2nd octant
            val = x < 0 ? (M_PI - val) : val;                      //3-4th octants from 2-1
        }
        else
        {
            if (absx > absy)
                val = -ATAN_LUT[(int)(255 * absy / absx)]; //8th octant
            else
                val = -M_PI_2 + ATAN_LUT[(int)(255 * absx / absy)]; //7th octant
            val = x < 0 ? -M_PI - val : val;                        //5-6th octants from 8-7
        }
    }
    val = val * 180 / M_PI;
    return (val < 0) ? (val + 360) : val;
}
int Solve_Mine_Pos(uint16_t xx_1, uint16_t yy_1, uint32_t EE_1, uint16_t xx_2, uint16_t yy_2, uint32_t EE_2, uint16_t xx_3, uint16_t yy_3, uint32_t EE_3, int *coordinate_x, int *coordinate_y)
{
    /*
    入口参数：xx_i,yy_i,EE_i,(i=1,2,3)为三个不同点的坐标与场强。double *coordinate是用于存放计算结果（金矿坐标）的容器
    此函数根据三组坐�??&场强数据进行解算，将得到的结果存储在coordinate数组�??.在较坏的情况下，误差�??3cm以内.
    返回值为0or1。case 1：计算无明显异常;case 0：三个点数据量不够，或是计算结果偏出场地以外。需重新计算.
    */
    /*
    计算公式为：
    y=(A*((xx_2-xx_3)/EE_1+(xx_3-xx_1)/EE_2+(xx_1-xx_2)/EE_3)+(xx_1-xx_2)*(xx_2-xx_3)*(xx_3-xx_1)+yy_1*yy_1*(xx_3-xx_2)+yy_2*yy_2*(xx_1-xx_3)+yy_3*yy_3*(xx_2-xx_1))/2/(xx_1*yy_2-xx_2*yy_1+xx_3*yy_1-xx_1*yy_3+xx_2*yy_3-xx_3*yy_2);
    x=(xx_1+xx_2-((xx_2-xx_3)*(A/EE_1-A/EE_2)-(yy_1-yy_2)*(xx_2-xx_3)*(yy_1+yy_2-2*y))/(xx_1-xx_2)/(xx_2-xx_3))/2;
    此公式在matlab上运算正常，精度满足要求
    */
    double determinant = xx_1 * yy_2 - xx_2 * yy_1 + xx_3 * yy_1 - xx_1 * yy_3 + xx_2 * yy_3 - xx_3 * yy_2;
    if (!determinant) //??????
        return 0;
    double y = (((double)(xx_2 - xx_3) * (A_COFFIENT / (double)EE_1) + (double)(xx_3 - xx_1) * (A_COFFIENT / (double)EE_2) + (double)(xx_1 - xx_2) * (double)(A_COFFIENT / (double)EE_3)) / determinant + (xx_1 - xx_2) * (double)(xx_2 - xx_3) / determinant * (xx_3 - xx_1) + (double)yy_1 / determinant * yy_1 * (xx_3 - xx_2) + (double)yy_2 * yy_2 / determinant * (xx_1 - xx_3) + (double)yy_3 * yy_3 / determinant * (xx_2 - xx_1)) / 2;
    double x = (xx_1 + xx_2 - ((xx_2 - xx_3) * (A_COFFIENT / (double)EE_1 - A_COFFIENT / (double)EE_2) - (yy_1 - yy_2) * (xx_2 - xx_3) * (double)(yy_1 + yy_2 - 2 * y)) / (xx_1 - xx_2) / (xx_2 - xx_3)) / 2;

    if (x < -POS_ERR_TOL || x > 254 + POS_ERR_TOL || y < -POS_ERR_TOL || y > 254 + POS_ERR_TOL) //????
        return 0;

    *coordinate_x = (int)x;
    *coordinate_y = (int)y;
    return 1;
}
void Sol_Car_Pos_INIT()
{
    ///Sol_Car_Pos()初始化，赋�?�中间变量beacon_determinant
    ///进入第二回合时调用此函数进行赋�?�，或�?�把下面�??行粘过去
    beacon_determinant = -beacon_Pos[0] * beacon_Pos[3] + beacon_Pos[2] * beacon_Pos[1] - beacon_Pos[4] * beacon_Pos[1] + beacon_Pos[0] * beacon_Pos[5] - beacon_Pos[2] * beacon_Pos[5] + beacon_Pos[4] * beacon_Pos[3];
}
void Sol_Car_Pos(double r_1, double r_2, double r_3)
{
    ///第二回合计算小车位置函数。计算出小车当前坐标，存储在car_Pos[2]数组中�?�入口参数：到信�??1�??2�??3距离�??
    ///返回值：�??
    car_Pos[1] = (r_1 * r_1 * (beacon_Pos[4] - beacon_Pos[2]) + r_3 * r_3 * (beacon_Pos[2] - beacon_Pos[0]) + r_2 * r_2 * (beacon_Pos[0] - beacon_Pos[4])) / 2 / beacon_determinant + ((beacon_Pos[2] - beacon_Pos[4]) * beacon_Pos[1] * beacon_Pos[1] + (beacon_Pos[0] - beacon_Pos[2]) * beacon_Pos[5] * beacon_Pos[5] + (beacon_Pos[4] - beacon_Pos[0]) * beacon_Pos[3] * beacon_Pos[3]) / 2 / beacon_determinant;
    car_Pos[0] = -(r_1 * r_1 * (beacon_Pos[5] - beacon_Pos[3]) + r_3 * r_3 * (beacon_Pos[3] - beacon_Pos[1]) + r_2 * r_2 * (beacon_Pos[1] - beacon_Pos[5])) / 2 / beacon_determinant - ((beacon_Pos[3] - beacon_Pos[5]) * beacon_Pos[0] * beacon_Pos[0] + (beacon_Pos[1] - beacon_Pos[3]) * beacon_Pos[4] * beacon_Pos[4] + (beacon_Pos[5] - beacon_Pos[1]) * beacon_Pos[2] * beacon_Pos[2]) / 2 / beacon_determinant;
}
void find(int x, int y)
{
    float angle_obj;
    angle_obj = 360 - atan2LUTif(y - car_Pos[1], x - car_Pos[0]); ///计算到目标点连线的夹角�?�car_Pos为小车坐�??

    float angle_car = GetYaw();
    if (angle_obj >= angle_err && angle_obj <= 360.0 - angle_err)
    {
        if (angle_car >= angle_obj - angle_err && angle_car <= angle_obj + angle_err)
        {
            if (goto_state == 2)
                forward(forward_speed / 2);
            else
                forward(forward_speed);
            if (goto_state == 0)
                goto_state = 1;
            return;
        }
        else
        {
            if (angle_obj <= 180)
            {
                if (angle_car >= angle_obj && angle_car <= angle_obj + 180)
                {
                    rotate_clockwise(rotate_speed);
                }
                else
                    rotate_counterclockwise(rotate_speed);
            }
            else
            {
                if (angle_car <= angle_obj && angle_car >= angle_obj - 180)
                {
                    rotate_counterclockwise(rotate_speed);
                }
                else
                    rotate_clockwise(rotate_speed);
            }
        }
    }
    else
    {
        if (angle_obj < angle_err)
        {
            if ((angle_car >= angle_obj - angle_err + 360.0 || angle_car <= angle_obj + angle_err))
            {
                if (goto_state == 2)
                    forward(forward_speed / 2);
                else
                    forward(forward_speed);
                if (goto_state == 0)
                    goto_state = 1;
                return;
            }
            else
            {
                if (angle_car >= angle_obj && angle_car <= angle_obj + 180)
                {
                    rotate_clockwise(rotate_speed);
                }
                else
                    rotate_counterclockwise(rotate_speed);
            }
        }
        else if (angle_obj > 360 - angle_err)
        {
            if ((angle_car <= angle_obj + angle_err - 360.0 || angle_car >= angle_obj - angle_err))
            {
                if (goto_state == 2)
                    forward(forward_speed / 2);
                else
                    forward(forward_speed);
                if (goto_state == 0)
                    goto_state = 1;
                return;
            }
            else
            {
                if (angle_car <= angle_obj && angle_car >= angle_obj - 180)
                {
                    rotate_counterclockwise(rotate_speed);
                }
                else
                    rotate_clockwise(rotate_speed);
            }
        }
    }
}

void Goto(int x, int y)
{
    if (goto_state == 0 || goto_state == 2)
        find(x, y);
    dis_cur = (x - car_Pos[0]) * (x - car_Pos[0]) + (y - car_Pos[1]) * (y - car_Pos[1]);
    if (goto_state == 1) //goto_state is a variable determining whether the car's head is towards the resource, if so, plus the condition that the resource is far away, goto_state = 1
    {
        if (goto_state == 1 && dis_cur < 60) //when first approach the resource, state = 2
        {
            goto_state = 2;
        }
    }
    if (dis_cur > dis_pre + 10) // going pass by without getting the resource
        goto_state = 0;
    dis_pre = dis_cur;
}

//寻找�??近的仓库坐标
// Parameters: 小车坐标
// Return: �??近的仓库坐标的数组指�??
void Get_Rep_opt(int x, int y)
{
    int min;
    int min_rep;
    int i = 0;
    min = (x - 15) * (x - 15) + (y - 15) * (y - 15);
    min_rep = 0;
    for (i = 0; i < 8; ++i)
    {
        if (getParkDotMineType(i) == prev_type) //同类型已经去过了
            continue;
        if (((rep[i][0] - x) * (rep[i][0] - x) + (rep[i][1] - y) * (rep[i][1] - y)) < min)
        {
            min_rep = i;
            min = (rep[i][0] - x) * (rep[i][0] - x) + (rep[i][1] - y) * (rep[i][1] - y);
        }
    }
    for (i = 0; i < 3; ++i)
    {
        if (getMyBeaconMineType(i) == prev_type) //同类型已经去过了
            continue;
        if (((beacon_Pos[2 * i] - x) * (beacon_Pos[2 * i] - x) + (beacon_Pos[2 * i + 1] - y) * (beacon_Pos[2 * i + 1] - y)) < min)
        {
            min_rep = 8 + i; //8到10
            min = (beacon_Pos[2 * i] - x) * (beacon_Pos[2 * i] - x) + (beacon_Pos[2 * i + 1] - y) * (beacon_Pos[2 * i + 1] - y);
        }
    }
    if (min_rep < 8)
    {
        destination[0] = rep[min_rep][0];
        destination[1] = rep[min_rep][1];
        //return rep[min_rep];
    }
    else
    {
        destination[0] = beacon_Pos[2 * (min_rep - 8)];
        destination[1] = beacon_Pos[2 * (min_rep - 8) + 1];
        //return {beacon_Pos[2 * (min_rep - 8)], beacon_Pos[2 * (min_rep - 8) + 1]};}
    }
}

void Get_rotate_pwm()
{
    rotate_pwm[0] = pid(-speed1 + rotate_rpm);
    rotate_pwm[1] = pid(-speed2 + rotate_rpm);
    rotate_pwm[2] = pid(-speed3 + rotate_rpm);
    rotate_pwm[3] = pid(-speed4 + rotate_rpm);
}
/* USER CODE END 4 */

void Error_Handler(void)
{
    __disable_irq();
    while (1)
    {
    }
}

/************************ (C) COPYRIGHT STMicroelectronics *****END OF FILE****/
